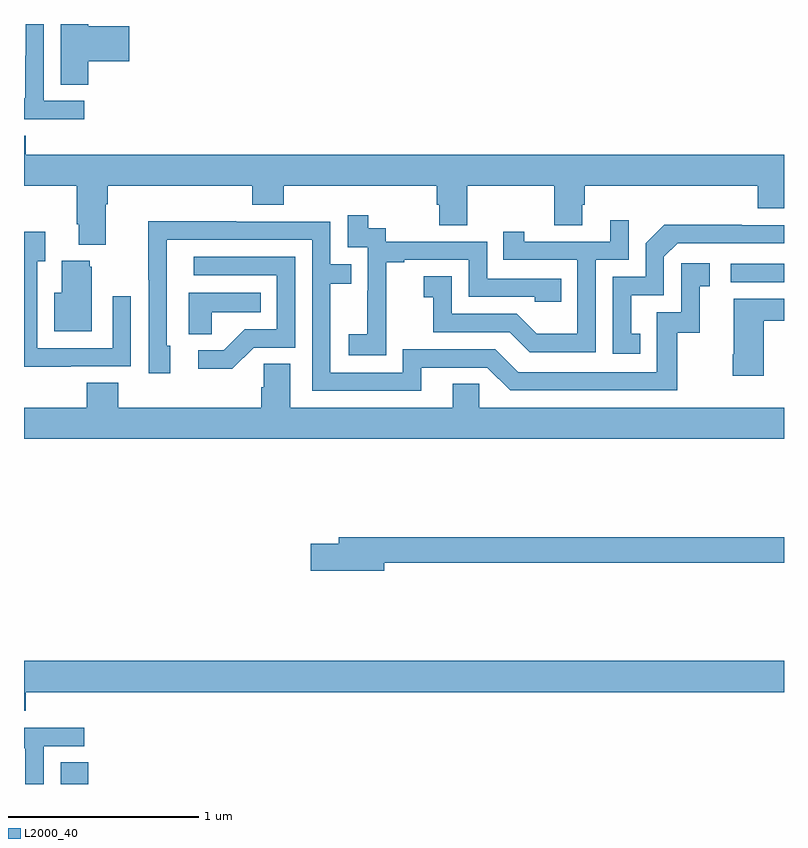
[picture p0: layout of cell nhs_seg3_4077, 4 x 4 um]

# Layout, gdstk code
import gdstk
lib = gdstk.Library(unit=1e-6, precision=1e-09)
def R(c, l, rs):  # rectangles x0, y0, x1, y1
    for r in rs: c.add(gdstk.rectangle(r[:2], r[2:], *l))
def P(c, l, *ps):  # polygons
    for p in ps: c.add(gdstk.Polygon(p, *l))
L2000_40 = (2000, 40)

nhs_seg3_4077 = lib.new_cell('nhs_seg3_4077')
R(nhs_seg3_4077, L2000_40, [(325.193,732.4,325.337,732.515), (328.719,735.042,329,735.138)])
P(nhs_seg3_4077, L2000_40, [(325.318,735.996),(325.104,735.996),(325.104,736.4),(325.008,736.4),(325.008,736.232),(325.006,736.232),(325.006,736.009),(325,736.009),(325,735.9),(325.318,735.9)],
  [(325.337,736.205),(325.555,736.205),(325.555,736.388),(325.337,736.388),(325.337,736.4),(325.193,736.4),(325.193,736.081),(325.337,736.081)],
  [(325.429,735.452),(325.442,735.452),(325.442,735.548),(326.201,735.548),(326.201,735.449),(326.366,735.449),(326.366,735.548),(327.173,735.548),(327.173,735.45),(327.185,735.45),(327.185,735.34),(327.333,735.34),(327.333,735.548),(327.79,735.548),(327.79,735.34),(327.937,735.34),(327.937,735.45),(327.95,735.45),(327.95,735.548),(328.862,735.548),(328.862,735.431),(329,735.431),(329,735.712),(325.01,735.712),(325.01,735.811),(325,735.811),(325,735.548),(325.277,735.548),(325.277,735.346),(325.289,735.346),(325.289,735.239),(325.429,735.239)],
  [(326.907,734.863),(326.906,734.863),(326.906,735.147),(327.001,735.147),(327.001,735.159),(327.342,735.159),(327.342,734.964),(327.687,734.964),(327.687,734.937),(327.827,734.937),(327.827,735.06),(327.438,735.06),(327.438,735.255),(326.904,735.255),(326.904,735.324),(326.812,735.324),(326.812,735.394),(326.703,735.394),(326.703,735.225),(326.808,735.225),(326.808,734.996),(326.807,734.996),(326.807,734.767),(326.709,734.767),(326.709,734.657),(326.907,734.657)],
  [(328.008,735.159),(328.182,735.159),(328.182,735.367),(328.085,735.367),(328.085,735.255),(327.634,735.255),(327.634,735.307),(327.523,735.307),(327.523,735.159),(327.912,735.159),(327.912,734.77),(327.698,734.77),(327.594,734.874),(327.252,734.874),(327.252,735.073),(327.105,735.073),(327.105,734.963),(327.154,734.963),(327.154,734.778),(327.557,734.778),(327.662,734.673),(328.008,734.673)],
  [(327.091,734.592),(327.438,734.592),(327.558,734.472),(328.438,734.472),(328.438,734.775),(328.556,734.775),(328.556,735.021),(328.609,735.021),(328.609,735.142),(328.458,735.142),(328.458,734.883),(328.329,734.883),(328.329,734.568),(327.6,734.568),(327.48,734.688),(326.994,734.688),(326.994,734.565),(326.613,734.565),(326.613,735.034),(326.723,735.034),(326.723,735.135),(326.613,735.135),(326.613,735.36),(326.117,735.36),(326.117,735.362),(325.654,735.362),(325.654,735.055),(325.656,735.055),(325.656,734.562),(325.771,734.562),(325.771,734.706),(325.752,734.706),(325.752,735.264),(326.517,735.264),(326.517,734.469),(327.091,734.469)],
  [(328.244,734.769),(328.195,734.769),(328.195,734.973),(328.368,734.973),(328.368,735.174),(328.44,735.246),(329,735.246),(329,735.342),(328.778,735.342),(328.778,735.344),(328.37,735.344),(328.272,735.246),(328.272,735.069),(328.098,735.069),(328.098,734.664),(328.244,734.664)],
  [(325.247,734.598),(325.563,734.598),(325.563,734.968),(325.467,734.968),(325.467,734.694),(325.071,734.694),(325.071,735.151),(325.111,735.151),(325.111,735.307),(325,735.307),(325,734.597),(325.247,734.597)],
  [(326.208,734.697),(326.427,734.697),(326.427,735.174),(325.893,735.174),(325.893,735.078),(326.331,735.078),(326.331,734.793),(326.162,734.793),(326.051,734.682),(325.917,734.682),(325.917,734.585),(326.095,734.585)],
  [(325.357,735.123),(325.346,735.123),(325.346,735.154),(325.199,735.154),(325.199,734.986),(325.16,734.986),(325.16,734.783),(325.357,734.783)],
  [(325.989,734.882),(326.246,734.882),(326.246,734.986),(325.868,734.986),(325.868,734.767),(325.989,734.767)],
  [(328.894,734.839),(329,734.839),(329,734.953),(328.736,734.953),(328.736,734.662),(328.729,734.662),(328.729,734.55),(328.894,734.55)],
  [(329,734.38),(327.396,734.38),(327.396,734.507),(327.257,734.507),(327.257,734.38),(326.401,734.38),(326.401,734.612),(326.262,734.612),(326.262,734.489),(326.249,734.489),(326.249,734.38),(325.496,734.38),(325.496,734.513),(325.331,734.513),(325.331,734.38),(325,734.38),(325,734.216),(329,734.216)],
  [(326.896,733.564),(329,733.564),(329,733.7),(326.657,733.7),(326.657,733.664),(326.508,733.664),(326.508,733.522),(326.896,733.522)],
  [(325.01,732.884),(329,732.884),(329,733.048),(325,733.048),(325,732.785),(325.01,732.785)],
  [(325.104,732.6),(325.318,732.6),(325.318,732.696),(325,732.696),(325,732.588),(325.006,732.588),(325.006,732.4),(325.104,732.4)])

lib.write_gds('nhs_seg3_4077.gds')
